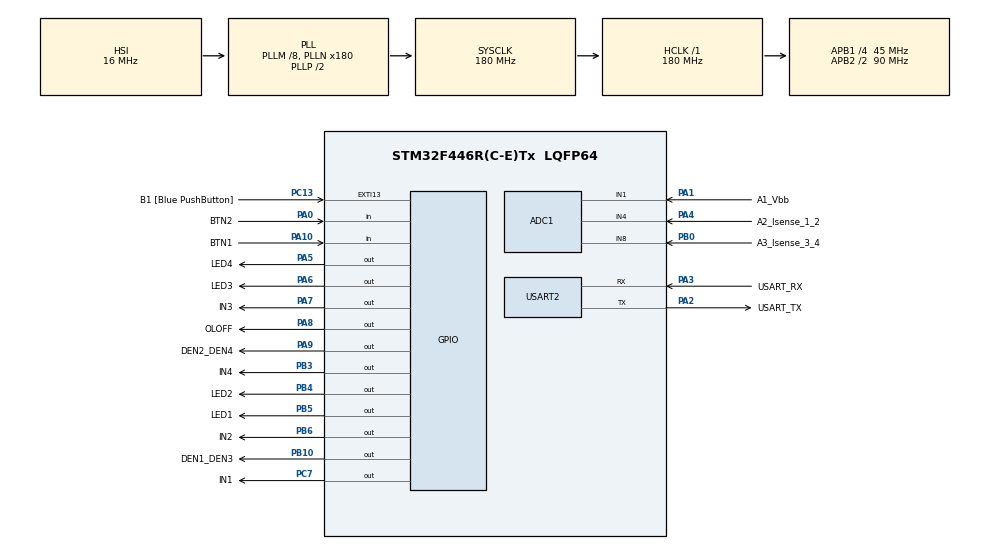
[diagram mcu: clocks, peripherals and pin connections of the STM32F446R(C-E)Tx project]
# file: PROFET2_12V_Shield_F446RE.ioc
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ADC1.Channel-0\#ChannelRegularConversion=ADC_CHANNEL_1
ADC1.Channel-1\#ChannelRegularConversion=ADC_CHANNEL_4
ADC1.Channel-2\#ChannelRegularConversion=ADC_CHANNEL_8
ADC1.NbrOfConversion=3
ADC1.NbrOfConversionFlag=1
ADC1.Rank-0\#ChannelRegularConversion=1
ADC1.Rank-1\#ChannelRegularConversion=2
ADC1.Rank-2\#ChannelRegularConversion=3
ADC1.SamplingTime-0\#ChannelRegularConversion=ADC_SAMPLETIME_3CYCLES
ADC1.SamplingTime-1\#ChannelRegularConversion=ADC_SAMPLETIME_3CYCLES
ADC1.SamplingTime-2\#ChannelRegularConversion=ADC_SAMPLETIME_3CYCLES
ADC1.master=1
Dma.ADC1.0.Direction=DMA_PERIPH_TO_MEMORY
Dma.ADC1.0.FIFOMode=DMA_FIFOMODE_DISABLE
Dma.ADC1.0.Instance=DMA2_Stream0
Dma.ADC1.0.MemDataAlignment=DMA_MDATAALIGN_HALFWORD
Dma.ADC1.0.MemInc=DMA_MINC_ENABLE
Dma.ADC1.0.Mode=DMA_CIRCULAR
Dma.ADC1.0.PeriphDataAlignment=DMA_PDATAALIGN_HALFWORD
Dma.ADC1.0.PeriphInc=DMA_PINC_DISABLE
Dma.ADC1.0.Priority=DMA_PRIORITY_LOW
Dma.Request0=ADC1
Mcu.Family=STM32F4
Mcu.Name=STM32F446R(C-E)Tx
Mcu.Package=LQFP64
NVIC.ADC_IRQn=true\:0\:0\:false\:false\:true\:true\:true
NVIC.DMA2_Stream0_IRQn=true\:0\:0\:false\:false\:true\:false\:true
NVIC.PriorityGroup=NVIC_PRIORITYGROUP_0
NVIC.TIM6_DAC_IRQn=true\:0\:0\:false\:false\:true\:true\:true
NVIC.USART2_IRQn=true\:0\:0\:false\:false\:true\:true\:true
PA0-WKUP.GPIO_Label=BTN2
PA0-WKUP.Signal=GPIO_Input
PA1.GPIO_Label=A1_Vbb
PA1.Signal=ADCx_IN1
PA10.GPIO_Label=BTN1
PA10.Signal=GPIO_Input
PA13.GPIO_Label=TMS
PA13.Mode=Serial_Wire
PA13.Signal=SYS_JTMS-SWDIO
PA14.GPIO_Label=TCK
PA14.Mode=Serial_Wire
PA14.Signal=SYS_JTCK-SWCLK
PA2.GPIO_Label=USART_TX
PA2.Mode=Asynchronous
PA2.Signal=USART2_TX
PA3.GPIO_Label=USART_RX
PA3.Mode=Asynchronous
PA3.Signal=USART2_RX
PA4.GPIO_Label=A2_Isense_1_2
PA4.Signal=ADCx_IN4
PA5.GPIO_Label=LED4
PA5.Signal=GPIO_Output
PA6.GPIO_Label=LED3
PA6.Signal=GPIO_Output
PA7.GPIO_Label=IN3
PA7.Signal=GPIO_Output
PA8.GPIO_Label=OLOFF
PA8.Signal=GPIO_Output
PA9.GPIO_Label=DEN2_DEN4
PA9.Signal=GPIO_Output
PB0.GPIO_Label=A3_Isense_3_4
PB0.Signal=ADCx_IN8
PB10.GPIO_Label=DEN1_DEN3
PB10.Signal=GPIO_Output
PB3.GPIO_Label=IN4
PB3.Signal=GPIO_Output
PB4.GPIO_Label=LED2
PB4.Signal=GPIO_Output
PB5.GPIO_Label=LED1
PB5.Signal=GPIO_Output
PB6.GPIO_Label=IN2
PB6.Signal=GPIO_Output
PC13.GPIO_Label=B1 [Blue PushButton]
PC13.GPIO_ModeDefaultEXTI=GPIO_MODE_IT_FALLING
PC13.Signal=GPXTI13
PC14-OSC32_IN.Mode=LSE-External-Oscillator
PC14-OSC32_IN.Signal=RCC_OSC32_IN
PC15-OSC32_OUT.Mode=LSE-External-Oscillator
PC15-OSC32_OUT.Signal=RCC_OSC32_OUT
PC7.GPIO_Label=IN1
PC7.Signal=GPIO_Output
PH0-OSC_IN.Mode=HSE-External-Oscillator
PH0-OSC_IN.Signal=RCC_OSC_IN
PH1-OSC_OUT.Mode=HSE-External-Oscillator
PH1-OSC_OUT.Signal=RCC_OSC_OUT
ProjectManager.HeapSize=0x200
ProjectManager.StackSize=0x400
ProjectManager.TargetToolchain=STM32CubeIDE
RCC.48MHZClocksFreq_Value=84000000
RCC.AHBFreq_Value=180000000
RCC.APB1CLKDivider=RCC_HCLK_DIV4
RCC.APB1Freq_Value=45000000
RCC.APB1TimFreq_Value=90000000
RCC.APB2CLKDivider=RCC_HCLK_DIV2
RCC.APB2Freq_Value=90000000
RCC.APB2TimFreq_Value=180000000
RCC.CortexFreq_Value=180000000
RCC.FLatency-AdvancedSettings=FLASH_LATENCY_5
RCC.HCLKFreq_Value=180000000
RCC.HSE_VALUE=8000000
RCC.HSI_VALUE=16000000
RCC.PLLM=8
RCC.PLLN=180
RCC.SYSCLKFreq_VALUE=180000000
RCC.SYSCLKSource=RCC_SYSCLKSOURCE_PLLCLK
RCC.USBFreq_Value=180000000
RCC.VCOOutputFreq_Value=360000000
SH.ADCx_IN1.0=ADC1_IN1,IN1
SH.ADCx_IN4.0=ADC1_IN4,IN4
SH.ADCx_IN8.0=ADC1_IN8,IN8
TIM6.AutoReloadPreload=TIM_AUTORELOAD_PRELOAD_ENABLE
TIM6.Period=9999
TIM6.Prescaler=449
USART2.VirtualMode=VM_ASYNC
VP_TIM6_VS_ClockSourceINT.Mode=Enable_Timer
board=NUCLEO-F446RE

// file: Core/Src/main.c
/* USER CODE BEGIN Header */
/**
 ******************************************************************************
 * @file           : main.c
 * @brief          : Main program body
 ******************************************************************************
 * @attention
 *
 * <h2><center>&copy; Copyright (c) 2021 STMicroelectronics.
 * All rights reserved.</center></h2>
 *
 * This software component is licensed by ST under BSD 3-Clause license,
 * the "License"; You may not use this file except in compliance with the
 * License. You may obtain a copy of the License at:
 *                        opensource.org/licenses/BSD-3-Clause
 *
 ******************************************************************************
 */
/* USER CODE END Header */
#include "main.h"

/* USER CODE BEGIN Includes */
#include "stdbool.h"
#include "string.h"
/* USER CODE END Includes */

/* USER CODE BEGIN PTD */
typedef struct ArduinoShield // data structure to remember the output status of each PROFET U1-U4 and the LEDs status on the Arduino Shield
{
	bool status_In_U1; // = 0;         // PROFET U1 IN status
	bool status_In_U2; // = 0;         // PROFET U2 IN status
	bool status_In_U3; // = 0;         // PROFET U3 IN status
	bool status_In_U4; // = 0;         // PROFET U4 IN status

	bool status_LED1; // = 0;         // LED1 status
	bool status_LED2; // = 0;         // LED2 status
	bool status_LED3; // = 0;         // LED3 status
	bool status_LED4; // = 0;         // LED4 status

	float max_adc_reading; // = 1024.0; // ADC = 10 bit -> 0x400 -> 1024 -> 1 digit = 0.0048828125V resolution
	float adc_reference_voltage; // = 5.0;      // ADC reference voltage = 5V

	int A0_adc_raw_value_PushButton; // = 0; // ADC raw value reading Analog Input A0 (push botton)
	int A1_adc_raw_value_Vbb; // = 0; // ADC raw value reading Analog Input A1 (supply voltage VS)
	int A2_adc_raw_value_IS_1; // = 0; // ADC raw value reading Analog Input A2 (IS sense PROFET+2 U1)
	int A2_adc_raw_value_IS_2; // = 0; // ADC raw value reading Analog Input A2 (IS sense PROFET+2 U2)
	int A3_adc_raw_value_IS_3; // = 0; // ADC raw value reading Analog Input A3 (IS sense PROFET+2 U3)
	int A3_adc_raw_value_IS_4; // = 0; // ADC raw value reading Analog Input A3 (IS sense PROFET+2 U4)

	// enter the calibration data if available
	float A1_Vbb_Offset; // = 0.0;        // Vbb offset
	float A1_Vbb_Gain; // = 1.045;       // Vbb gain

	// enter the calibration data if available
	float U1_Ampere_Offset; // = 0.0; // PROFET+2 U1 offset -> A2_IS_1_Ampere_Offset
	float U1_Ampere_Gain; // = 1.08;    // PROFET+2 U1 gain   -> A2_IS_1_Ampere_Gain
	float U2_Ampere_Offset; // = 0.0; // PROFET+2 U2 offset -> A2_IS_2_Ampere_Offset
	float U2_Ampere_Gain; // = 1.08;    // PROFET+2 U2 gain   -> A2_IS_2_Ampere_Gain
	float U3_Ampere_Offset; // = 0.0; // PROFET+2 U3 offset -> A3_IS_3_Ampere_Offset
	float U3_Ampere_Gain; // = 1.08;    // PROFET+2 U3 gain   -> A3_IS_3_Ampere_Gain
	float U4_Ampere_Offset; // = 0.0; // PROFET+2 U4 offset -> A3_IS_4_Ampere_Offset
	float U4_Ampere_Gain; // = 1.08;    // PROFET+2 U4 gain   -> A3_IS_4_Ampere_Gain

	float Vbb_Resistor_1; // = 47000.0; // 47kOhm -> check in the schematic resistor R9  (user manual v1.00 page 15 -> 2.5.3 and page 23 area D2/D3/E2/E3)
	float Vbb_Resistor_2; // = 10000.0; // 10kOhm -> check in the schematic resistor R11
	float A1_Vbb_ADC_Voltage; // = 0.0; // Vbb raw voltage data measured from ADC A1 (0-5V)
	float A1_Vbb_Real_Voltage; // = 0.0;        // Vbb voltage (e.g. 12V)
	float A1_Vbb_Real_Voltage_Filter; // = 0.0;   // Vbb voltage with Digital Filter

	float U1_IS_Voltage; // = 0.0; // PROFET+2 U1 measured voltage -> A2_ADC_Voltage_IS_1
	float U2_IS_Voltage; // = 0.0; // PROFET+2 U2 measured voltage -> A2_ADC_Voltage_IS_2
	float U3_IS_Voltage; // = 0.0; // PROFET+2 U3 measured voltage -> A3_ADC_Voltage_IS_3
	float U4_IS_Voltage; // = 0.0; // PROFET+2 U4 measured voltage -> A3_ADC_Voltage_IS_4

	float U1_IS_Ampere; // = 0.0; // PROFET+2 U1 calcualted ampere -> A2_IS_1_Ampere
	float U2_IS_Ampere; // = 0.0; // PROFET+2 U2 calcualted ampere -> A2_IS_2_Ampere
	float U3_IS_Ampere; // = 0.0; // PROFET+2 U3 calcualted ampere -> A3_IS_3_Ampere
	float U4_IS_Ampere; // = 0.0; // PROFET+2 U4 calcualted ampere -> A3_IS_4_Ampere

	float U1_IS_Ampere_Average; // = 0.0; // PROFET+2 U1 calcualted ampere average -> A2_IS_1_Ampere_Average
	float U2_IS_Ampere_Average; // = 0.0; // PROFET+2 U2 calcualted ampere average -> A2_IS_2_Ampere_Average
	float U3_IS_Ampere_Average; // = 0.0; // PROFET+2 U3 calcualted ampere average -> A3_IS_3_Ampere_Average
	float U4_IS_Ampere_Average; // = 0.0; // PROFET+2 U4 calcualted ampere average -> A3_IS_4_Ampere_Average

	int kilis; // typical kilis for the BTS7002
} ArduinoShield;

typedef enum
{                  // the PushButton can be configured to digital or analog mode
	digital = 0, analog = 1,
} PushButton;

/* USER CODE END PTD */

/* USER CODE BEGIN PD */
#define   BTS7002                 // Arduino Shield >PROFET+2 12V BTS7002-1EPP selected
/* USER CODE END PD */

ADC_HandleTypeDef hadc1;
DMA_HandleTypeDef hdma_adc1;

TIM_HandleTypeDef htim6;

UART_HandleTypeDef huart2;

/* USER CODE BEGIN PV */
#define MAX_BUFLEN 1024
char buf[MAX_BUFLEN];
int bufHead = 0, bufTail = 0;
uint8_t tmpbuf;

uint8_t received2 = '\0';
HAL_StatusTypeDef rcvStat2;

bool buttonState = 1; // button state -> reading of the push button -> pressed or not pressed
bool lastButtonState = 1;         // last button state
bool buttonFlag = 0;         // button toggle flag
unsigned int countSM = 0;         // counter for the number of button presses
/* USER CODE END PV */

void SystemClock_Config(void);
static void MX_GPIO_Init(void);
static void MX_DMA_Init(void);
static void MX_USART2_UART_Init(void);
static void MX_ADC1_Init(void);
static void MX_TIM6_Init(void);
/* USER CODE BEGIN PFP */

void HAL_TIM_PeriodElapsedCallback(TIM_HandleTypeDef *htim)
{
	if (htim->Instance == TIM6)
	{
		//HAL_UART_Transmit(&huart2, "TX UART2 : ", 11, 1000);
		HAL_GPIO_TogglePin(LED1_GPIO_Port, LED1_Pin);
		HAL_GPIO_TogglePin(LED2_GPIO_Port, LED2_Pin);
		HAL_GPIO_TogglePin(LED3_GPIO_Port, LED3_Pin);
		HAL_GPIO_TogglePin(LED4_GPIO_Port, LED4_Pin);
	}
}

void HAL_UART_RxCpltCallback(UART_HandleTypeDef *huart)
{
	if (huart->Instance == huart2.Instance)
	{
		HAL_UART_Receive_IT(&huart2, &tmpbuf, 1);
		buf[bufTail] = huart->pRxBuffPtr[0];
		bufTail++;
		bufTail %= 200;
	}
}

int __io_putchar(int ch)
{
	uint8_t *tr = (uint8_t*) &ch;
	HAL_UART_Transmit(&huart2, &tr[0], 1, -1);
	return ch;
}
int __io_getchar()
{
	register int ret;

	__retry: if (bufHead != bufTail)
	{
		ret = buf[bufHead];
		if (ret == '\r')
		{
			ret = '\n';
		}
		bufHead++;
		bufHead %= MAX_BUFLEN;
	}
	else
	{
		goto __retry;
	}
	return ret;
}
/* USER CODE END PFP */

int main(void)
{
	/* USER CODE BEGIN 1 */
	ArduinoShield Shield =
	{ .status_In_U1 = 0,         // PROFET U1 IN status
			.status_In_U2 = 0,         // PROFET U2 IN status
			.status_In_U3 = 0,         // PROFET U3 IN status
			.status_In_U4 = 0,         // PROFET U4 IN status

			.status_LED1 = 0,         // LED1 status
			.status_LED2 = 0,         // LED2 status
			.status_LED3 = 0,         // LED3 status
			.status_LED4 = 0,         // LED4 status

			.max_adc_reading = 1024.0, // ADC = 10 bit -> 0x400 -> 1024 -> 1 digit = 0.0048828125V resolution
			.adc_reference_voltage = 5.0,         // ADC reference voltage = 5V

			.A0_adc_raw_value_PushButton = 0, // ADC raw value reading Analog Input A0 (push botton)
			.A1_adc_raw_value_Vbb = 0, // ADC raw value reading Analog Input A1 (supply voltage VS)
			.A2_adc_raw_value_IS_1 = 0, // ADC raw value reading Analog Input A2 (IS sense PROFET+2 U1)
			.A2_adc_raw_value_IS_2 = 0, // ADC raw value reading Analog Input A2 (IS sense PROFET+2 U2)
			.A3_adc_raw_value_IS_3 = 0, // ADC raw value reading Analog Input A3 (IS sense PROFET+2 U3)
			.A3_adc_raw_value_IS_4 = 0, // ADC raw value reading Analog Input A3 (IS sense PROFET+2 U4)

			// enter the calibration data if available
			.A1_Vbb_Offset = 0.0,         // Vbb offset
			.A1_Vbb_Gain = 1.045,         // Vbb gain

			// enter the calibration data if available
			.U1_Ampere_Offset = 0.0, // PROFET+2 U1 offset -> A2_IS_1_Ampere_Offset
			.U1_Ampere_Gain = 1.08, // PROFET+2 U1 gain   -> A2_IS_1_Ampere_Gain
			.U2_Ampere_Offset = 0.0, // PROFET+2 U2 offset -> A2_IS_2_Ampere_Offset
			.U2_Ampere_Gain = 1.08, // PROFET+2 U2 gain   -> A2_IS_2_Ampere_Gain
			.U3_Ampere_Offset = 0.0, // PROFET+2 U3 offset -> A3_IS_3_Ampere_Offset
			.U3_Ampere_Gain = 1.08, // PROFET+2 U3 gain   -> A3_IS_3_Ampere_Gain
			.U4_Ampere_Offset = 0.0, // PROFET+2 U4 offset -> A3_IS_4_Ampere_Offset
			.U4_Ampere_Gain = 1.08, // PROFET+2 U4 gain   -> A3_IS_4_Ampere_Gain

			.Vbb_Resistor_1 = 47000.0, // 47kOhm -> check in the schematic resistor R9  (user manual v1.00 page 15 -> 2.5.3 and page 23 area D2/D3/E2/E3)
			.Vbb_Resistor_2 = 10000.0, // 10kOhm -> check in the schematic resistor R11
			.A1_Vbb_ADC_Voltage = 0.0, // Vbb raw voltage data measured from ADC A1 (0-5V)
			.A1_Vbb_Real_Voltage = 0.0,         // Vbb voltage (e.g. 12V)
			.A1_Vbb_Real_Voltage_Filter = 0.0, // Vbb voltage with Digital Filter

			.U1_IS_Voltage = 0.0, // PROFET+2 U1 measured voltage -> A2_ADC_Voltage_IS_1
			.U2_IS_Voltage = 0.0, // PROFET+2 U2 measured voltage -> A2_ADC_Voltage_IS_2
			.U3_IS_Voltage = 0.0, // PROFET+2 U3 measured voltage -> A3_ADC_Voltage_IS_3
			.U4_IS_Voltage = 0.0, // PROFET+2 U4 measured voltage -> A3_ADC_Voltage_IS_4

			.U1_IS_Ampere = 0.0, // PROFET+2 U1 calcualted ampere -> A2_IS_1_Ampere
			.U2_IS_Ampere = 0.0, // PROFET+2 U2 calcualted ampere -> A2_IS_2_Ampere
			.U3_IS_Ampere = 0.0, // PROFET+2 U3 calcualted ampere -> A3_IS_3_Ampere
			.U4_IS_Ampere = 0.0, // PROFET+2 U4 calcualted ampere -> A3_IS_4_Ampere

			.U1_IS_Ampere_Average = 0.0, // PROFET+2 U1 calcualted ampere average -> A2_IS_1_Ampere_Average
			.U2_IS_Ampere_Average = 0.0, // PROFET+2 U2 calcualted ampere average -> A2_IS_2_Ampere_Average
			.U3_IS_Ampere_Average = 0.0, // PROFET+2 U3 calcualted ampere average -> A3_IS_3_Ampere_Average
			.U4_IS_Ampere_Average = 0.0, // PROFET+2 U4 calcualted ampere average -> A3_IS_4_Ampere_Average

#ifdef BTS7002
			.kilis = 22700      // typical kilis for the BTS7002
#endif

#ifdef BTS7004
				.kilis = 20000      // typical kilis for the BTS7004
	#endif

#ifdef BTS7006
				.kilis = 17700      // typical kilis for the BTS7006
	#endif

#ifdef BTS7008
				.kilis = 14500      // typical kilis for the BTS7008
	#endif

			};
	/* USER CODE END 1 */

	/* MCU Configuration--------------------------------------------------------*/

	/* Reset of all peripherals, Initializes the Flash interface and the Systick. */
	HAL_Init();

	/* Configure the system clock */
	SystemClock_Config();

	/* Initialize all configured peripherals */
	MX_GPIO_Init();
	MX_DMA_Init();
	MX_USART2_UART_Init();
	MX_ADC1_Init();
	MX_TIM6_Init();
	/* USER CODE BEGIN 2 */
	HAL_TIM_Base_Start_IT(&htim6);
	//WriteShieldIN(false, false, false, false);
	//writeShieldLED(false, false, false, false);
	printf("-----------------------------------------------------\r\n");
	printf(" Infineon PROFET+2 12V Arduino Shield HW Rev 5.0     \r\n");
	printf(" Software Version 1.00                SW Button3     \r\n");
	printf(" PROFET+2 BTS7002-1EPP                               \r\n");
	printf(" PROFET+2 BTS7004-1EPP                               \r\n");
	printf(" PROFET+2 BTS7006-1EPP                               \r\n");
	printf(" PROFET+2 BTS7008-1EPP                     2019-10-29\r\n");
	printf("-----------------------------------------------------\r\n");

	/* USER CODE END 2 */

	/* Infinite loop */
	while (1)
	{

		/* USER CODE BEGIN 3 */

		rcvStat2 = HAL_UART_Receive(&huart2, &received2, 1, 10);
		if (rcvStat2 == HAL_OK)
		{
			HAL_UART_Transmit(&huart2, "TX UART2 : ", 11, 1000);
			HAL_UART_Transmit(&huart2, &received2, 1, 1000);
			HAL_UART_Transmit(&huart2, "\r\n\r\n", 4, 1000);

		}
	}
	/* USER CODE END 3 */
}

void SystemClock_Config(void)
{
	RCC_OscInitTypeDef RCC_OscInitStruct =
	{ 0 };
	RCC_ClkInitTypeDef RCC_ClkInitStruct =
	{ 0 };

	/** Configure the main internal regulator output voltage
	 */
	__HAL_RCC_PWR_CLK_ENABLE();
	__HAL_PWR_VOLTAGESCALING_CONFIG(PWR_REGULATOR_VOLTAGE_SCALE1);
	/** Initializes the RCC Oscillators according to the specified parameters
	 * in the RCC_OscInitTypeDef structure.
	 */
	RCC_OscInitStruct.OscillatorType = RCC_OSCILLATORTYPE_HSI;
	RCC_OscInitStruct.HSIState = RCC_HSI_ON;
	RCC_OscInitStruct.HSICalibrationValue = RCC_HSICALIBRATION_DEFAULT;
	RCC_OscInitStruct.PLL.PLLState = RCC_PLL_ON;
	RCC_OscInitStruct.PLL.PLLSource = RCC_PLLSOURCE_HSI;
	RCC_OscInitStruct.PLL.PLLM = 8;
	RCC_OscInitStruct.PLL.PLLN = 180;
	RCC_OscInitStruct.PLL.PLLP = RCC_PLLP_DIV2;
	RCC_OscInitStruct.PLL.PLLQ = 2;
	RCC_OscInitStruct.PLL.PLLR = 2;
	if (HAL_RCC_OscConfig(&RCC_OscInitStruct) != HAL_OK)
	{
		Error_Handler();
	}
	/** Activate the Over-Drive mode
	 */
	if (HAL_PWREx_EnableOverDrive() != HAL_OK)
	{
		Error_Handler();
	}
	/** Initializes the CPU, AHB and APB buses clocks
	 */
	RCC_ClkInitStruct.ClockType = RCC_CLOCKTYPE_HCLK | RCC_CLOCKTYPE_SYSCLK
			| RCC_CLOCKTYPE_PCLK1 | RCC_CLOCKTYPE_PCLK2;
	RCC_ClkInitStruct.SYSCLKSource = RCC_SYSCLKSOURCE_PLLCLK;
	RCC_ClkInitStruct.AHBCLKDivider = RCC_SYSCLK_DIV1;
	RCC_ClkInitStruct.APB1CLKDivider = RCC_HCLK_DIV4;
	RCC_ClkInitStruct.APB2CLKDivider = RCC_HCLK_DIV2;

	if (HAL_RCC_ClockConfig(&RCC_ClkInitStruct, FLASH_LATENCY_5) != HAL_OK)
	{
		Error_Handler();
	}
}

static void MX_ADC1_Init(void)
{

	ADC_ChannelConfTypeDef sConfig =
	{ 0 };

	/** Configure the global features of the ADC (Clock, Resolution, Data Alignment and number of conversion)
	 */
	hadc1.Instance = ADC1;
	hadc1.Init.ClockPrescaler = ADC_CLOCK_SYNC_PCLK_DIV4;
	hadc1.Init.Resolution = ADC_RESOLUTION_12B;
	hadc1.Init.ScanConvMode = ENABLE;
	hadc1.Init.ContinuousConvMode = DISABLE;
	hadc1.Init.DiscontinuousConvMode = DISABLE;
	hadc1.Init.ExternalTrigConvEdge = ADC_EXTERNALTRIGCONVEDGE_NONE;
	hadc1.Init.ExternalTrigConv = ADC_SOFTWARE_START;
	hadc1.Init.DataAlign = ADC_DATAALIGN_RIGHT;
	hadc1.Init.NbrOfConversion = 3;
	hadc1.Init.DMAContinuousRequests = DISABLE;
	hadc1.Init.EOCSelection = ADC_EOC_SINGLE_CONV;
	if (HAL_ADC_Init(&hadc1) != HAL_OK)
	{
		Error_Handler();
	}
	/** Configure for the selected ADC regular channel its corresponding rank in the sequencer and its sample time.
	 */
	sConfig.Channel = ADC_CHANNEL_1;
	sConfig.Rank = 1;
	sConfig.SamplingTime = ADC_SAMPLETIME_3CYCLES;
	if (HAL_ADC_ConfigChannel(&hadc1, &sConfig) != HAL_OK)
	{
		Error_Handler();
	}
	/** Configure for the selected ADC regular channel its corresponding rank in the sequencer and its sample time.
	 */
	sConfig.Channel = ADC_CHANNEL_4;
	sConfig.Rank = 2;
	if (HAL_ADC_ConfigChannel(&hadc1, &sConfig) != HAL_OK)
	{
		Error_Handler();
	}
	/** Configure for the selected ADC regular channel its corresponding rank in the sequencer and its sample time.
	 */
	sConfig.Channel = ADC_CHANNEL_8;
	sConfig.Rank = 3;
	if (HAL_ADC_ConfigChannel(&hadc1, &sConfig) != HAL_OK)
	{
		Error_Handler();
	}

}

static void MX_TIM6_Init(void)
{

	TIM_MasterConfigTypeDef sMasterConfig =
	{ 0 };

	htim6.Instance = TIM6;
	htim6.Init.Prescaler = 449;
	htim6.Init.CounterMode = TIM_COUNTERMODE_UP;
	htim6.Init.Period = 9999;
	htim6.Init.AutoReloadPreload = TIM_AUTORELOAD_PRELOAD_ENABLE;
	if (HAL_TIM_Base_Init(&htim6) != HAL_OK)
	{
		Error_Handler();
	}
	sMasterConfig.MasterOutputTrigger = TIM_TRGO_RESET;
	sMasterConfig.MasterSlaveMode = TIM_MASTERSLAVEMODE_DISABLE;
	if (HAL_TIMEx_MasterConfigSynchronization(&htim6, &sMasterConfig) != HAL_OK)
	{
		Error_Handler();
	}

}

static void MX_USART2_UART_Init(void)
{

	huart2.Instance = USART2;
	huart2.Init.BaudRate = 115200;
	huart2.Init.WordLength = UART_WORDLENGTH_8B;
	huart2.Init.StopBits = UART_STOPBITS_1;
	huart2.Init.Parity = UART_PARITY_NONE;
	huart2.Init.Mode = UART_MODE_TX_RX;
	huart2.Init.HwFlowCtl = UART_HWCONTROL_NONE;
	huart2.Init.OverSampling = UART_OVERSAMPLING_16;
	if (HAL_UART_Init(&huart2) != HAL_OK)
	{
		Error_Handler();
	}

}

static void MX_DMA_Init(void)
{

	/* DMA controller clock enable */
	__HAL_RCC_DMA2_CLK_ENABLE();

	/* DMA interrupt init */
	/* DMA2_Stream0_IRQn interrupt configuration */
	HAL_NVIC_SetPriority(DMA2_Stream0_IRQn, 0, 0);
	HAL_NVIC_EnableIRQ(DMA2_Stream0_IRQn);

}

static void MX_GPIO_Init(void)
{
	GPIO_InitTypeDef GPIO_InitStruct =
	{ 0 };

	/* GPIO Ports Clock Enable */
	__HAL_RCC_GPIOC_CLK_ENABLE();
	__HAL_RCC_GPIOH_CLK_ENABLE();
	__HAL_RCC_GPIOA_CLK_ENABLE();
	__HAL_RCC_GPIOB_CLK_ENABLE();

	/*Configure GPIO pin Output Level */
	HAL_GPIO_WritePin(GPIOA,
	LED4_Pin | LED3_Pin | IN3_Pin | OLOFF_Pin | DEN2_DEN4_Pin, GPIO_PIN_RESET);

	/*Configure GPIO pin Output Level */
	HAL_GPIO_WritePin(GPIOB,
	DEN1_DEN3_Pin | IN4_Pin | LED2_Pin | LED1_Pin | IN2_Pin, GPIO_PIN_RESET);

	/*Configure GPIO pin Output Level */
	HAL_GPIO_WritePin(IN1_GPIO_Port, IN1_Pin, GPIO_PIN_RESET);

	/*Configure GPIO pin : B1_Pin */
	GPIO_InitStruct.Pin = B1_Pin;
	GPIO_InitStruct.Mode = GPIO_MODE_IT_FALLING;
	GPIO_InitStruct.Pull = GPIO_NOPULL;
	HAL_GPIO_Init(B1_GPIO_Port, &GPIO_InitStruct);

	/*Configure GPIO pins : BTN2_Pin BTN1_Pin */
	GPIO_InitStruct.Pin = BTN2_Pin | BTN1_Pin;
	GPIO_InitStruct.Mode = GPIO_MODE_INPUT;
	GPIO_InitStruct.Pull = GPIO_NOPULL;
	HAL_GPIO_Init(GPIOA, &GPIO_InitStruct);

	/*Configure GPIO pins : LED4_Pin LED3_Pin IN3_Pin OLOFF_Pin
	 DEN2_DEN4_Pin */
	GPIO_InitStruct.Pin = LED4_Pin | LED3_Pin | IN3_Pin | OLOFF_Pin
			| DEN2_DEN4_Pin;
	GPIO_InitStruct.Mode = GPIO_MODE_OUTPUT_PP;
	GPIO_InitStruct.Pull = GPIO_NOPULL;
	GPIO_InitStruct.Speed = GPIO_SPEED_FREQ_LOW;
	HAL_GPIO_Init(GPIOA, &GPIO_InitStruct);

	/*Configure GPIO pins : DEN1_DEN3_Pin IN4_Pin LED2_Pin LED1_Pin
	 IN2_Pin */
	GPIO_InitStruct.Pin = DEN1_DEN3_Pin | IN4_Pin | LED2_Pin | LED1_Pin
			| IN2_Pin;
	GPIO_InitStruct.Mode = GPIO_MODE_OUTPUT_PP;
	GPIO_InitStruct.Pull = GPIO_NOPULL;
	GPIO_InitStruct.Speed = GPIO_SPEED_FREQ_LOW;
	HAL_GPIO_Init(GPIOB, &GPIO_InitStruct);

	/*Configure GPIO pin : IN1_Pin */
	GPIO_InitStruct.Pin = IN1_Pin;
	GPIO_InitStruct.Mode = GPIO_MODE_OUTPUT_PP;
	GPIO_InitStruct.Pull = GPIO_NOPULL;
	GPIO_InitStruct.Speed = GPIO_SPEED_FREQ_LOW;
	HAL_GPIO_Init(IN1_GPIO_Port, &GPIO_InitStruct);

}

void Error_Handler(void)
{
	__disable_irq();
	while (1)
	{
	}
}

/************************ (C) COPYRIGHT STMicroelectronics *****END OF FILE****/
